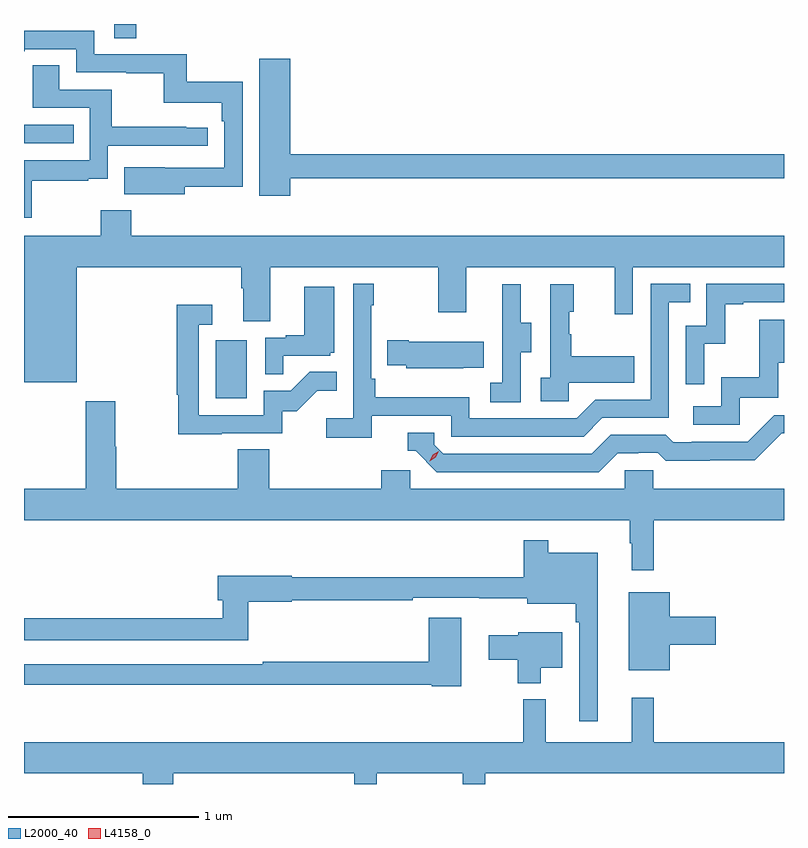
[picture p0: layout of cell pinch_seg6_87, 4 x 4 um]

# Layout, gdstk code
import gdstk
lib = gdstk.Library(unit=1e-6, precision=1e-09)
def R(c, l, rs):  # rectangles x0, y0, x1, y1
    for r in rs: c.add(gdstk.rectangle(r[:2], r[2:], *l))
def P(c, l, *ps):  # polygons
    for p in ps: c.add(gdstk.Polygon(p, *l))
L2000_40 = (2000, 40)
L4158_0 = (4158, 0)

pinch_seg6_87 = lib.new_cell('pinch_seg6_87')
R(pinch_seg6_87, L2000_40, [(940.988,930.66,941.152,930.967), (939.98,932.004,940.241,932.1), (940.455,932.557,940.571,932.631)])
P(pinch_seg6_87, L2000_40, [(940.825,931.774),(941.13,931.774),(941.13,932.326),(940.837,932.326),(940.837,932.472),(940.35,932.472),(940.35,932.595),(939.98,932.595),(939.98,932.487),(939.985,932.487),(939.985,932.499),(940.254,932.499),(940.254,932.376),(940.519,932.376),(940.519,932.371),(940.716,932.371),(940.716,932.216),(941.021,932.216),(941.021,932.12),(941.034,932.12),(941.034,931.875),(940.721,931.875),(940.721,931.876),(940.507,931.876),(940.507,931.736),(940.825,931.736)],
  [(941.38,931.818),(943.98,931.818),(943.98,931.946),(941.38,931.946),(941.38,932.449),(941.219,932.449),(941.219,931.728),(941.38,931.728)],
  [(940.021,931.806),(940.319,931.806),(940.319,931.817),(940.422,931.817),(940.422,931.989),(940.948,931.989),(940.948,932.085),(940.835,932.085),(940.835,932.09),(940.442,932.09),(940.442,932.286),(940.165,932.286),(940.165,932.414),(940.025,932.414),(940.025,932.19),(940.326,932.19),(940.326,931.914),(939.98,931.914),(939.98,931.611),(940.021,931.611)],
  [(940.258,931.352),(941.123,931.352),(941.123,931.24),(941.135,931.24),(941.135,931.066),(941.275,931.066),(941.275,931.352),(942.16,931.352),(942.16,931.113),(942.307,931.113),(942.307,931.352),(943.088,931.352),(943.088,931.104),(943.185,931.104),(943.185,931.352),(943.98,931.352),(943.98,931.516),(940.544,931.516),(940.544,931.651),(940.384,931.651),(940.384,931.516),(939.98,931.516),(939.98,930.746),(940.258,930.746)],
  [(941.81,930.57),(942.228,930.57),(942.228,930.459),(942.925,930.459),(943.024,930.558),(943.374,930.558),(943.374,931.167),(943.487,931.167),(943.487,931.263),(943.278,931.263),(943.278,930.654),(942.987,930.654),(942.888,930.555),(942.324,930.555),(942.324,930.667),(941.828,930.667),(941.828,930.763),(941.808,930.763),(941.808,931.151),(941.821,931.151),(941.821,931.264),(941.712,931.264),(941.712,930.556),(941.571,930.556),(941.571,930.454),(941.81,930.454)],
  [(943.56,930.947),(943.67,930.947),(943.67,931.155),(943.765,931.155),(943.765,931.167),(943.98,931.167),(943.98,931.263),(943.572,931.263),(943.572,931.044),(943.464,931.044),(943.464,930.735),(943.56,930.735)],
  [(942.594,930.904),(942.649,930.904),(942.649,931.059),(942.595,931.059),(942.595,931.261),(942.497,931.261),(942.497,931.047),(942.498,931.047),(942.498,930.743),(942.435,930.743),(942.435,930.64),(942.594,930.64)],
  [(942.846,930.743),(943.193,930.743),(943.193,930.883),(942.859,930.883),(942.859,930.998),(942.849,930.998),(942.849,931.116),(942.874,931.116),(942.874,931.261),(942.75,931.261),(942.75,930.77),(942.699,930.77),(942.699,930.645),(942.846,930.645)],
  [(941.345,930.885),(941.592,930.885),(941.592,930.9),(941.614,930.9),(941.614,931.249),(941.456,931.249),(941.456,930.994),(941.357,930.994),(941.357,930.981),(941.25,930.981),(941.25,930.787),(941.345,930.787)],
  [(941.021,930.477),(941.34,930.477),(941.34,930.594),(941.416,930.594),(941.523,930.701),(941.627,930.701),(941.627,930.8),(941.483,930.8),(941.385,930.702),(941.241,930.702),(941.241,930.573),(940.899,930.573),(940.899,931.047),(940.972,931.047),(940.972,931.153),(940.783,931.153),(940.783,930.68),(940.791,930.68),(940.791,930.472),(941.021,930.472)],
  [(943.746,930.663),(943.951,930.663),(943.951,930.849),(943.98,930.849),(943.98,931.075),(943.849,931.075),(943.849,930.772),(943.65,930.772),(943.65,930.618),(943.503,930.618),(943.503,930.522),(943.746,930.522)],
  [(942.293,930.821),(942.401,930.821),(942.401,930.958),(942.004,930.958),(942.004,930.966),(941.893,930.966),(941.893,930.836),(941.991,930.836),(941.991,930.818),(942.293,930.818)],
  [(943.167,929.897),(943.178,929.897),(943.178,929.757),(943.295,929.757),(943.295,930.02),(943.98,930.02),(943.98,930.184),(943.293,930.184),(943.293,930.282),(943.143,930.282),(943.143,930.184),(942.012,930.184),(942.012,930.282),(941.861,930.282),(941.861,930.184),(941.27,930.184),(941.27,930.392),(941.105,930.392),(941.105,930.184),(940.466,930.184),(940.466,930.407),(940.461,930.407),(940.461,930.646),(940.306,930.646),(940.306,930.184),(939.98,930.184),(939.98,930.02),(943.167,930.02)],
  [(943.105,930.372),(943.212,930.372),(943.212,930.375),(943.315,930.375),(943.357,930.333),(943.59,930.333),(943.59,930.335),(943.826,930.335),(943.968,930.477),(943.98,930.477),(943.98,930.573),(943.929,930.573),(943.788,930.432),(943.495,930.432),(943.495,930.429),(943.396,930.429),(943.357,930.468),(943.068,930.468),(942.969,930.369),(942.186,930.369),(942.138,930.417),(942.138,930.48),(941.999,930.48),(941.999,930.384),(942.042,930.384),(942.153,930.273),(943.006,930.273)],
  [(943,929.848),(942.739,929.848),(942.739,929.914),(942.61,929.914),(942.61,929.719),(941.388,929.719),(941.388,929.727),(941,929.727),(941,929.597),(941.027,929.597),(941.027,929.504),(939.98,929.504),(939.98,929.388),(941.159,929.388),(941.159,929.59),(941.388,929.59),(941.388,929.598),(942.026,929.598),(942.026,929.61),(942.376,929.61),(942.376,929.609),(942.629,929.609),(942.629,929.579),(942.883,929.579),(942.883,929.483),(942.903,929.483),(942.903,928.962),(943,928.962)],
  [(943.378,929.363),(943.621,929.363),(943.621,929.51),(943.378,929.51),(943.378,929.641),(943.163,929.641),(943.163,929.231),(943.378,929.231)],
  [(942.28,929.506),(942.11,929.506),(942.11,929.275),(941.236,929.275),(941.236,929.262),(939.98,929.262),(939.98,929.154),(942.126,929.154),(942.126,929.146),(942.28,929.146)],
  [(942.7,929.243),(942.814,929.243),(942.814,929.431),(942.582,929.431),(942.582,929.413),(942.426,929.413),(942.426,929.284),(942.578,929.284),(942.578,929.162),(942.7,929.162)],
  [(940.766,928.688),(941.719,928.688),(941.719,928.631),(941.837,928.631),(941.837,928.688),(942.29,928.688),(942.29,928.631),(942.407,928.631),(942.407,928.688),(943.98,928.688),(943.98,928.852),(943.295,928.852),(943.295,929.086),(943.178,929.086),(943.178,928.852),(942.725,928.852),(942.725,929.077),(942.607,929.077),(942.607,928.852),(939.98,928.852),(939.98,928.688),(940.606,928.688),(940.606,928.631),(940.766,928.631)])
P(pinch_seg6_87, L4158_0, [(942.116,930.33),(942.116,930.33),(942.131,930.363),(942.162,930.383),(942.162,930.383),(942.162,930.383),(942.146,930.35),(942.116,930.33)])

lib.write_gds('pinch_seg6_87.gds')
